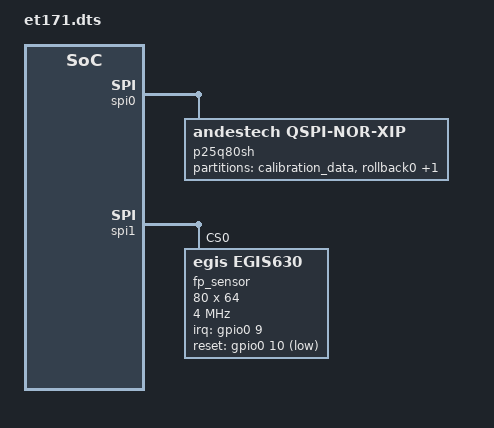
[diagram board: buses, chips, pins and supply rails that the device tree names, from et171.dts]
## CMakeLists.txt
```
# Copyright 2025 The ChromiumOS Authors
# Use of this source code is governed by a BSD-style license that can be
# found in the LICENSE file.
# SPDX-License-Identifier: Apache-2.0

zephyr_library_sources("src/platform.c")
zephyr_library_sources("src/flash_qspi.c")
zephyr_library_sources("src/ec_quirks.c")

if(DEFINED CONFIG_CROS_EC_RO)

set(flash_header_output_bin ${CMAKE_BINARY_DIR}/flash_header.bin)
zephyr_file_copy(flash_header.bin ${flash_header_output_bin})

endif()
```

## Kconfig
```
# Copyright 2025 The ChromiumOS Authors
# Use of this source code is governed by a BSD-style license that can be
# found in the LICENSE file.

if BOARD_ET171

config FP_SENSOR_ALLOW_EXTERNAL_CALI_DATA
	default y if FINGERPRINT_SENSOR_EGIS630

endif
```

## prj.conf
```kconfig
# Copyright 2025 The ChromiumOS Authors
# Use of this source code is governed by a BSD-style license that can be
# found in the LICENSE file.

CONFIG_BOARD_ET171=y

CONFIG_PLATFORM_EC_NOINIT_END_OF_RAM_SECTION=n
# Hardcode 1MB flash in hex for now
CONFIG_PLATFORM_EC_FLASH_SIZE_BYTES=100000
CONFIG_XIP=y

CONFIG_EXCEPTION_DEBUG=y
CONFIG_PLATFORM_EC_ROLLBACK_MPU_PROTECT=y

# Watchdog related configs
# Maximum watchdog period for atcwdt200 is 500ms. Many operations in the FP
# application takes hundreds of milliseconds or even more, e.g. RWSIG, flash
# operations, FP related calculations. Combining such two actions in series
# would lead to watchdog reset, thus we are forced to disable watchdog.
CONFIG_WDT_DISABLE_AT_BOOT=y
# The tick hook is used only for watchdog reload for FPMCU
CONFIG_PLATFORM_EC_HOOK_TICK=n

# Enable USB for HC
CONFIG_UDC_DRIVER=y
CONFIG_USB_DEVICE_STACK_NEXT=y
# 2kB looks sufficient, but add additional margin for future changes
CONFIG_UDC_BUF_POOL_SIZE=3072
CONFIG_USB_DEVICE_MAX_POWER=250

CONFIG_USB_DEVICE_MANUFACTURER="Google"
CONFIG_USB_DEVICE_PRODUCT="FPMCU"
CONFIG_USB_DEVICE_VID=0x18D1
CONFIG_USB_DEVICE_SELF_POWERED=n
CONFIG_USB_DEVICE_REMOTE_WAKEUP=y
CONFIG_USB_DEVICE_SN="0"
CONFIG_USB_DEVICE_SN_HWINFO=y

# Use USB for signaling MKBP events
CONFIG_PLATFORM_EC_MKBP_USE_GPIO=n
CONFIG_PLATFORM_EC_MKBP_USE_USB=y

# Sizes adjusted for 512 bytes payload for write and read flash host commands
CONFIG_EC_HOST_CMD_HANDLER_RX_BUFFER_SIZE=528
CONFIG_EC_HOST_CMD_HANDLER_TX_BUFFER_SIZE=520

CONFIG_FPU_SHARING=n
CONFIG_FLOAT_HARD=y

# SPI/Flash related configs
CONFIG_SPI_NOR=n
CONFIG_FLASH_ANDES_QSPI_XIP_COUNT_REGS=y
CONFIG_HEAP_MEM_POOL_SIZE=1024

# Use standar 0.1ms tick
CONFIG_SYS_CLOCK_TICKS_PER_SEC=10000

# No access to hardware WP pin, use custome method
CONFIG_PLATFORM_EC_WP_CUSTOM=y

# FPS related configs
CONFIG_FINGERPRINT_SENSOR_EGIS630_HEAP_SIZE=112640

# Enable the fp vendor command to get MT data
CONFIG_PLATFORM_EC_FINGERPRINT_VENDOR_COMMAND=y

# BBRAM not supported on ET171
CONFIG_BBRAM=n

# Make possibility to enter bootloader
CONFIG_PLATFORM_EC_HOST_COMMAND_ENTER_BOOTLOADER=y

# Disable kernel shell, becasue it requires addtional 5kB of flash
CONFIG_KERNEL_SHELL=n

# The flash shell requires page layout which is not supported
CONFIG_FLASH_SHELL=n

# Leave printk untill firmware is fully developed.
CONFIG_LOG_PRINTK=n

# RISCV PMP entry configurations
# b/406946889: Allow modifying PMP entries so that we can reconfigure them
# when jumping between RO and RW.
CONFIG_PMP_NO_LOCK_GLOBAL=y
CONFIG_NULL_POINTER_EXCEPTION_DETECTION_PMP=y
CONFIG_HW_STACK_PROTECTION=y

# Use EGIS ET171's secure OTP storage for keys.
CONFIG_EGIS_ET171_OTP_KEY=y

# Enable power button ignore
CONFIG_PLATFORM_EC_BTN_IGN_OUT=y
```

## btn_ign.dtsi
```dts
/* Copyright 2026 The ChromiumOS Authors
 * Use of this source code is governed by a BSD-style license that can be
 * found in the LICENSE file.
 */

/{
	btn_ign: btn-ign {
		compatible = "cros-ec,btn-ign";
		btn-ign-gpios = <&gpio0 1 GPIO_ACTIVE_HIGH>;
	};
};
```

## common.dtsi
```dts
/* Copyright 2025 The ChromiumOS Authors.
 * Use of this source code is governed by a BSD-style license that can be
 * found in the LICENSE file.
 */

#include <egis/common_priv.dtsi>
#include <zephyr/dt-bindings/memory-attr/memory-attr-riscv.h>

#include "soc.dtsi"
#include "gpio.dtsi"
#include "rwsig.dtsi"

#include <cros/integrated_fwid.dtsi>

/ {
	chosen {
		cros-fp,fingerprint-sensor = &fp_sensor;
		cros-ec,flash = &p25q16;
		zephyr,flash = &p25q16;
		zephyr,flash-controller = &p25q16;
		flash-header = &flash_header;
	};

	named-bbram-regions {
		compatible = "named-bbram-regions";

		scratchpad {
			offset = <0x00>;
			size = <0x02>;
		};
		saved-reset-flags {
			offset = <0x02>;
			size = <0x04>;
		};
		saved-panic-reason {
			offset = <0x06>;
			size = <0x02>;
		};
		saved-panic-info {
			offset = <0x08>;
			size = <0x02>;
		};
		saved-panic-exception {
			offset = <0x0a>;
			size = <0x02>;
		};
		saved-panic-flags {
			offset = <0x0c>;
			size = <0x02>;
		};
	};


	/* Map the sections to fit the flash chip protection table */
	binman {
		/* SDCP flash header 4kB */

		/* Fill 1/4 of 1MB */
		wp-ro {
			size = <0x40000>;
			flash-header {
				offset = <0x0>;
				size = <0x1000>;
				type = "blob";
				filename = "../build-ro/flash_header.bin";
			};
			ec-ro {
				offset = <0x1000>;
				size = <(0x40000 - 0x1000)>;
				pad-byte = <0xff>;
			};
		};

		/* Use the rest for RW + Rollbacks. Erase unit(4kB) per rollback */
		rollback0 {
			offset = <0x40000>;
			size = <0x1000>;
			type = "blob";
			filename = "../build-rw/rollback_initial_data.bin";
		};

		rollback1 {
			offset = <0x41000>;
			size = <0x1000>;
			type = "blob";
			filename = "../build-rw/rollback_initial_data.bin";
		};

		ec-rw {
			offset = <0x42000>;
			size = <0xbe000>;
			rw-fw {
				/*
				 * Clang doesn't emit STT_SECTION symbols (also
				 * called 'section symbols'), so 'rom_start'
				 * symbol is not available. Fortunately, Zephyr
				 * linker scripts provide '__rom_start_address'
				 * symbol which points to the beginning of
				 * 'rom_start' section.
				 */
				zephyr-rw {
					elf-base-sym = "__rom_start_address";
				};
			};
		};
		pad-byte = <0xff>;
	};
};

&spi0 {
	p25q16: qspi-nor-flash {
		compatible = "andestech,qspi-nor-xip", "jedec,spi-nor";
		size = <DT_SIZE_K(2048)>;
		status = "okay";
	};
};

&p25q16 {
	partitions {
		compatible = "fixed-partitions";
		#address-cells = <1>;
		#size-cells = <1>;

		mt_data: partition@1b9 {
			label = "mt_data";
			reg = <0x1b9 128>;
		};

		rollback0: partition@40000 {
			label = "rollback0";
			reg = <0x40000 DT_SIZE_K(4)>;
		};

		rollback1: partition@41000 {
			label = "rollback1";
			reg = <0x41000 DT_SIZE_K(4)>;
		};
	};
};

/ {
	rollback: rollback@80040000 {
		compatible = "zephyr,memory-region";
		reg = <0x80040000 DT_SIZE_K(8)>;
		zephyr,memory-region = "ROLLBACK_REGION";
		/*
		 * This region is only used in M-mode, not U-mode. It has no
		 * access permissions (no read, no write, and no execute) unless
		 * unlocked, at which point read and write access are enabled.
		 */
		zephyr,memory-attr = <(DT_MEM_RISCV_TYPE_EMPTY)>;
	};
};
```

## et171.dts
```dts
/* Copyright 2023 The ChromiumOS Authors.
 * Use of this source code is governed by a BSD-style license that can be
 * found in the LICENSE file.
 */

#include "soc.dtsi"
#include "gpio.dtsi"
#include "rwsig.dtsi"

#include <cros/integrated_fwid.dtsi>

/ {
	chosen {
		cros-fp,fingerprint-sensor = &fp_sensor;
		cros-ec,flash = &p25q80sh;
		zephyr,flash = &p25q80sh;
		zephyr,flash-controller = &p25q80sh;
		flash-header = &flash_header;
	};

	named-bbram-regions {
		compatible = "named-bbram-regions";

		scratchpad {
			offset = <0x00>;
			size = <0x02>;
		};
		saved-reset-flags {
			offset = <0x02>;
			size = <0x04>;
		};
		saved-panic-reason {
			offset = <0x06>;
			size = <0x02>;
		};
		saved-panic-info {
			offset = <0x08>;
			size = <0x02>;
		};
		saved-panic-exception {
			offset = <0x0a>;
			size = <0x02>;
		};
		saved-panic-flags {
			offset = <0x0c>;
			size = <0x02>;
		};
	};


	/* Map the sections to fit the flash chip protection table */ 
	binman {
		/* SDCP flash header - 1/256 of 1MB = 1kB */
		flash-header {
			offset = <0x0>;
			size = <0x1000>;
			type = "blob";
			filename = "../build-ro/flash_header.bin";
		};

		/* Fill 1/4 of 1MB */
		wp-ro {
			offset = <0x1000>;
			size = <(0x40000 - 0x1000)>;
			ec-ro {
				offset = <0x0>;
				size = <(0x40000 - 0x1000)>;
				pad-byte = <0xff>;
			};
		};

		/* Use 1/4 - 1/2 of flash for rollback */
		/* Two sectors used for rollback (4KB each) */
		rollback0 {
			offset = <0x40000>;
			size = <0x1000>;
			type = "blob";
			filename = "../build-rw/rollback_initial_data.bin";
		};

		rollback1 {
			offset = <0x41000>;
			size = <0x1000>;
			type = "blob";
			filename = "../build-rw/rollback_initial_data.bin";
		};

		// TODO consider moving RW next to rollback since rollback doesn't need separate protection?
		ec-rw {
			offset = <0x80000>;
			size = <0x80000>;
			rw-fw {
				/*
				 * Clang doesn't emit STT_SECTION symbols (also
				 * called 'section symbols'), so 'rom_start'
				 * symbol is not available. Fortunately, Zephyr
				 * linker scripts provide '__rom_start_address'
				 * symbol which points to the beginning of
				 * 'rom_start' section.
				 */
				zephyr-rw {
					elf-base-sym = "__rom_start_address";
				};
			};
		};
		pad-byte = <0xff>;
	};
};

&spi0 {
	p25q80sh: qspi-nor-flash {
		compatible = "andestech,qspi-nor-xip", "jedec,spi-nor";
		size = <DT_SIZE_K(1024)>;
		status = "okay";
	};
};

&p25q80sh {
	partitions {
		compatible = "fixed-partitions";
		#address-cells = <1>;
		#size-cells = <1>;

		calibration_data: partition@1b9 {
			label = "calibration_data";
			reg = <0x1b9 256>;
		};

		rollback0: partition@40000 {
			label = "rollback0";
			reg = <0x40000 DT_SIZE_K(4)>;
		};

		/* Seventh sector is used as second rollback sector. */
		rollback1: partition@41000 {
			label = "rollback1";
			reg = <0x41000 DT_SIZE_K(4)>;
		};
	};
};

&spi1 {
	fp_sensor: egis630@0 {
		compatible = "egis,egis630";
		reg = <0>;
		spi-max-frequency = <4000000>;

		width = <80>;
		height = <64>;
		bits-per-pixel = <8>;
		v4l2-pixel-format = "V4L2_PIX_FMT_GREY";

		irq-gpios = <&gpio0 9 GPIO_ACTIVE_HIGH>;
		reset-gpios = <&gpio0 10 GPIO_ACTIVE_LOW>;
		calibration-data-addr = <0x800001b9>;
	};
};
```

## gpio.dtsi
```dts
/* Copyright 2023 The ChromiumOS Authors.
 * Use of this source code is governed by a BSD-style license that can be
 * found in the LICENSE file.
 */

#include <dt-bindings/gpio_defines.h>

/ {
	aliases {
		gpio-wp = &ec_wp_l;
	};

	named-gpios {
		compatible = "named-gpios";

		ap_ec_int_l {
			gpios = <&gpio0 16 GPIO_OUTPUT_HIGH>;
			enum-name = "GPIO_EC_INT_L";
		};
		ec_wp_l: write-protect {
			gpios = <&gpio0 0 GPIO_INPUT>;
		};

		entering-rw {
			enum-name = "GPIO_ENTERING_RW";
		};
	};
};
```

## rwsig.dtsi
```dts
/* Copyright 2023 The ChromiumOS Authors.
 * Use of this source code is governed by a BSD-style license that can be
 * found in the LICENSE file.
 */

&binman {
	wp-ro {
		ec-ro {
			/* Last part before signature for bootloader */
			key-ro {
				compatible = "cros-ec,flash-layout";
				type = "section";
				offset = <(0x40000 - 0x1000 - 64 - 0x400)>;
				size = <0x400>;
			};
			/* Signature for bootloader ECDSA-SHA256. TODO: inside ec-ro? */ 
			sig-ro {
				type = "section";
				offset = <(0x40000 - 0x1000 - 64)>;
				size = <64>;
			};
		};
	};

	ec-rw {
		rw-fw {
			rw-rbver {
				size = <4>;
				type = "section";
				/* points to
				 * current_image_data.rollback_version
				 */
				offset-from-elf = <&zephyr_rw>,
					"current_image_data", <40>;
				overlap;
			};

			sig-rw {
				type = "section";
				offset = <(0x80000 - 0x400)>;
				size = <0x400>;
			};
			pad-byte = <0xff>;
		};
	};
};
```

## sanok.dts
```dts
/* Copyright 2025 The ChromiumOS Authors.
 * Use of this source code is governed by a BSD-style license that can be
 * found in the LICENSE file.
 */

#include "common.dtsi"

#define EGIG630_DEFAULT_IMAGE_PROPS \
	width = <80>; \
	height = <64>; \
	bits-per-pixel = <8>; \
	frame-size = <5120>; \
	v4l2-pixel-format = "V4L2_PIX_FMT_GREY";

#define EGIG630_TEST_IMAGE_PROPS \
	width = <80>; \
	height = <64>; \
	bits-per-pixel = <16>; \
	frame-size = <10240>; \
	v4l2-pixel-format = "V4L2_PIX_FMT_GREY";

#define EGIG630_IMAGE_COLLECTION_PROPS \
	width = <80>; \
	height = <64>; \
	bits-per-pixel = <8>; \
	frame-size = <26200>; \
	v4l2-pixel-format = "V4L2_PIX_FMT_GREY";

&spi1 {
	fp_sensor: egis630@0 {
		compatible = "egis,egis630";
		reg = <0>;
		spi-max-frequency = <4000000>;

		configs {
			compatible = "fingerprint-image-frame-params";
			config0 {
				EGIG630_DEFAULT_IMAGE_PROPS
				capture-type = "FINGERPRINT_CAPTURE_TYPE_SIMPLE_IMAGE";
			};
			config1 {
				EGIG630_TEST_IMAGE_PROPS
				capture-type = "FINGERPRINT_CAPTURE_TYPE_PATTERN0";
			};
			config2 {
				EGIG630_TEST_IMAGE_PROPS
				capture-type = "FINGERPRINT_CAPTURE_TYPE_PATTERN1";
			};
			config3 {
				EGIG630_TEST_IMAGE_PROPS
				capture-type = "FINGERPRINT_CAPTURE_TYPE_DEFECT_PXL_TEST";
			};
			config4 {
				EGIG630_TEST_IMAGE_PROPS
				capture-type = "FINGERPRINT_CAPTURE_TYPE_ABNORMAL_TEST";
			};
			config5 {
				EGIG630_TEST_IMAGE_PROPS
				capture-type = "FINGERPRINT_CAPTURE_TYPE_NOISE_TEST";
			};
			config6 {
				EGIG630_TEST_IMAGE_PROPS
				capture-type = "FINGERPRINT_CAPTURE_TYPE_QUALITY_TEST";
			};
			config7 {
				EGIG630_IMAGE_COLLECTION_PROPS
				capture-type = "FINGERPRINT_CAPTURE_TYPE_VENDOR_FORMAT";
			};
		};

		irq-gpios = <&gpio0 9 GPIO_ACTIVE_HIGH>;
		reset-gpios = <&gpio0 10 GPIO_ACTIVE_LOW>;
		calibration-data = <&mt_data>;
	};
};
```

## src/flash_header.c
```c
/* Copyright 2025 The ChromiumOS Authors
 * Use of this source code is governed by a BSD-style license that can be
 * found in the LICENSE file.
 */

#include <stddef.h>
#include <stdint.h>

#include <zephyr/toolchain.h>

struct egis_sdcp_flash_header {
	uint8_t tag[8];
	uint32_t bootloader_ver;
	uint32_t bootloader_addr;
	uint32_t bootloader_size;
	uint32_t fw_ver;
	uint32_t fw_addr;
	uint32_t fw_size;
	uint32_t bootrom_ver;
	uint32_t bootrom_addr;
	uint32_t bootrom_size;
	uint32_t cert_m_addr;
	uint32_t cert_m_size;
	uint8_t otp_per_dev_skey_index;
	uint8_t pk_d[65];
	uint8_t s_m[64];
	uint8_t otp_egis_skey_index;
	uint8_t pk_d_egis[65];
	uint8_t sig_pk_d_egis[64];
	uint8_t pk_m[65];
	uint8_t s_goog[64];
	uint32_t mt_data_size;
	uint8_t mt_data[128];
} __packed;

struct egis_sdcp_flash_header flash_header = {
	.tag = { 0x45, 0x54, 0x55, 0x39, 0x30, 0x35, 0x0, 0x0 }, /* "ETU905" */
	.bootloader_ver = 0xffffffff,
	.bootloader_addr = 0xffffffff,
	.bootloader_size = 0xffffffff,
	.fw_ver = 0xaaaaaaaa,
	.fw_addr = CONFIG_CROS_EC_RO_MEM_OFF + CONFIG_FLASH_BASE_ADDRESS,
	.fw_size = CONFIG_CROS_EC_RO_SIZE - 64, /* WP region - ECDSA signature
						   at the end */
	.bootrom_ver = 0xffffffff,
	.bootrom_addr = 0xffffffff,
	.bootrom_size = 0xffffffff,
	.cert_m_addr = CONFIG_FLASH_BASE_ADDRESS +
		       offsetof(struct egis_sdcp_flash_header, pk_m),
	.cert_m_size = 64 + 65, /* Size of the pk_m + s_goog */
	.otp_per_dev_skey_index = 0,
	.pk_d = { 0 },
	.s_m = { 0 },
	.otp_egis_skey_index = 0,
	.pk_d_egis = { 0 },
	.sig_pk_d_egis = { 0 },
	.pk_m = { 0x04, 0xdb, 0x68, 0x13, 0x51, 0xcf, 0xec, 0x9a, 0x92, 0xce,
		  0x00, 0xba, 0x17, 0xc6, 0xbe, 0xd2, 0xd8, 0x5b, 0x1d, 0xb8,
		  0xd6, 0xbf, 0x07, 0x82, 0xad, 0xe7, 0xc6, 0xbe, 0x69, 0xe2,
		  0x1d, 0x1a, 0x45, 0x7b, 0x40, 0x8c, 0xac, 0xc7, 0x4d, 0x89,
		  0x79, 0x98, 0x68, 0x74, 0x10, 0xcd, 0x45, 0xe4, 0xfb, 0xff,
		  0x62, 0x73, 0x0e, 0xbc, 0xc8, 0x7d, 0xac, 0x81, 0xf6, 0xb2,
		  0xba, 0x12, 0x6c, 0x1e, 0x8a }, /* Egis pk_m */
	.s_goog = { 0x34, 0x51, 0x71, 0x9a, 0xab, 0x29, 0x1a, 0x3f, 0x37, 0x14,
		    0x03, 0xb2, 0xc3, 0x19, 0xcc, 0x40, 0xba, 0x18, 0x4e, 0xee,
		    0xcf, 0x8d, 0xbc, 0x9d, 0x23, 0x40, 0x20, 0xbe, 0x15, 0x24,
		    0xfd, 0xbd, 0xc1, 0xfb, 0xed, 0x69, 0x6d, 0xf5, 0xe9, 0xb5,
		    0xc6, 0x34, 0x6b, 0xa0, 0x27, 0x3c, 0x75, 0x65, 0xd9, 0xe1,
		    0x3d, 0x8a, 0xa4, 0xf7, 0xa0, 0x45, 0x57, 0x76, 0x47, 0x10,
		    0x67, 0xe0, 0xff, 0xa6 },
};
```

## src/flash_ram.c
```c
/* Copyright 2024 The ChromiumOS Authors
 * Use of this source code is governed by a BSD-style license that can be
 * found in the LICENSE file.
 */

#include <string.h>

#include <zephyr/device.h>
#include <zephyr/devicetree.h>

#include <zephyr/init.h>
#include <zephyr/drivers/flash.h>
#include <zephyr/drivers/flash/andes_flash_xip_api_ex.h>
#include <zephyr/kernel.h>
#include <zephyr/device.h>
#include <zephyr/sys/util.h>

#include <zephyr/logging/log.h>

#include <stdarg.h>
#include "console.h"
#include "printf.h"
#include "uart.h"
#include <zephyr/linker/linker-defs.h>
#include <zephyr/sys/barrier.h>
#include <zephyr/drivers/cache.h>
#include <zephyr/drivers/flash.h>

#include "util.h"

#include <stdarg.h>

#define flash_ctrl_dev DEVICE_DT_GET(DT_CHOSEN(zephyr_flash_controller))

static int command_write3(int argc, const char **argv)
{
	uint32_t off = 0;
#ifdef CONFIG_CROS_EC_RW
	uint32_t start = 0x20000;
	const int size = 0x60000;
#else
	uint32_t start = 0x80000;
	const int size = 0x80000;
#endif
	const int chank = 300;
	uint8_t data[chank];
	for (int i = 0; i < chank; i++) {
		data[i] = i+1;
	}

	for (int j = 0; j < 500; j++) {
		printk("DN write %d\n", j);
		flash_erase(flash_ctrl_dev, start, size);
		for (off = 0; off < size; off += chank) {
			flash_write(flash_ctrl_dev, start + off, data, chank);
		}
	}

	// printk("DN cmd write end\n");

	return 0;
};
DECLARE_SAFE_CONSOLE_COMMAND(write3, command_write3,
			     "[ save | restore | <mask> | <name> ]",
			     "Save, restore, get or set console channel mask");

static int command_srs(int argc, const char **argv)
{
	char *e;

	if (argc == 3) {
		uint32_t srs = strtoi(argv[1], &e, 0);

		if (*e) {
			return EC_ERROR_PARAM1;
		}

		uint32_t mask = strtoi(argv[2], &e, 0);
		if (*e) {
			return EC_ERROR_PARAM2;
		}
		
		struct andes_xip_ex_ops_set_in op_in;

		op_in.regs[0] = (uint8_t)(srs     & 0xff);
		op_in.regs[1] = (uint8_t)(srs>>8  & 0xff);
		op_in.regs[2] = (uint8_t)(srs>>16 & 0xff);
		op_in.masks[0] = (uint8_t)(mask     & 0xff);
		op_in.masks[1] = (uint8_t)(mask>>8  & 0xff);
		op_in.masks[2] = (uint8_t)(mask>>16 & 0xff);

		return flash_ex_op(flash_ctrl_dev, FLASH_ANDES_XIP_EX_OP_SET_STATUS_REGS, (uintptr_t)&op_in, 0);
	} else if (argc == 1) {
		int ret;
		struct andes_xip_ex_ops_get_out op_out;

		ret = flash_ex_op(flash_ctrl_dev, FLASH_ANDES_XIP_EX_OP_GET_STATUS_REGS, (uintptr_t)NULL, &op_out);

		if (ret) {
			printk("DN error: %d\n", ret);
		} else {
			printk("DN sr1: 0x%02x\n", op_out.regs[0]);
			printk("DN sr2: 0x%02x\n", op_out.regs[1]);
			printk("DN sr3: 0x%02x\n", op_out.regs[2]);
		}
	} else {
		return -1;
	}

	return EC_SUCCESS;
};
DECLARE_CONSOLE_COMMAND(srs, command_srs, "", "");

static int command_srs_unlock(int argc, const char **argv)
{
	struct andes_xip_ex_ops_lock_in op_in = {
		.enable = false,
	};

	return flash_ex_op(flash_ctrl_dev, FLASH_ANDES_XIP_EX_OP_LOCK, (uintptr_t)&op_in, 0);
};
DECLARE_CONSOLE_COMMAND(srs_unlock, command_srs_unlock, "", "");

void trng_rand_bytes(void *buffer, size_t len);

static int command_rand(int argc, const char **argv)
{
	char *e;
	uint32_t num;

	if (argc == 2) {
		num = strtoi(argv[1], &e, 0);

		if (*e) {
			return EC_ERROR_PARAM1;
		}
	} else {
		return -1;
	}
	uint8_t rand[num];
	trng_rand_bytes(rand, 16);

	for (int i = 0; i < num; i++) {
		printk("%d\n", rand[i]);
	}

	return 0;
};
DECLARE_CONSOLE_COMMAND(rand, command_rand, "", "");
```

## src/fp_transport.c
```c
/* Copyright 2024 The ChromiumOS Authors
 * Use of this source code is governed by a BSD-style license that can be
 * found in the LICENSE file.
 */

#include <string.h>

#include <zephyr/device.h>
#include <zephyr/devicetree.h>

#include <zephyr/mgmt/ec_host_cmd/backend.h>
#include <zephyr/mgmt/ec_host_cmd/ec_host_cmd.h>

#include <zephyr/init.h>
#include <zephyr/kernel.h>
#include <zephyr/device.h>
#include <zephyr/sys/util.h>

#include <zephyr/logging/log.h>

#include <stdarg.h>
#include "console.h"
#include "host_command.h"
#include "hwtimer.h"
#include "printf.h"
#include "uart.h"
#include "usb_console.h"
#include "util.h"
#include <zephyr/linker/linker-defs.h>

void usb_set_mkbp(int active)
{
	// printk("USB MKBP active: %d\n", active);
	if (active) {
		ec_host_cmd_backend_usb_trigger_event();
	}
}

int mkbp_set_host_active_via_custom(int active, uint32_t *timestamp)
{
	usb_set_mkbp(active);
	if (timestamp) {
		*timestamp = __hw_clock_source_read();
	}

	return EC_SUCCESS;
}

static __ramfunc int command_usb(int argc, const char **argv)
{
	host_set_single_event(EC_HOST_EVENT_INTERFACE_READY);

	return EC_SUCCESS;
};
DECLARE_SAFE_CONSOLE_COMMAND(usb, command_usb,
			     "[ save | restore | <mask> | <name> ]",
			     "Save, restore, get or set console channel mask");
```

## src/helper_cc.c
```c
/* Copyright 2024 The ChromiumOS Authors
 * Use of this source code is governed by a BSD-style license that can be
 * found in the LICENSE file.
 */

#include <string.h>

#include <zephyr/device.h>
#include <zephyr/devicetree.h>

#include <zephyr/init.h>
#include <zephyr/drivers/flash.h>
#include <zephyr/drivers/flash/andes_flash_xip_api_ex.h>
#include <zephyr/kernel.h>
#include <zephyr/device.h>
#include <zephyr/sys/util.h>

#include <zephyr/logging/log.h>

#include <stdarg.h>
#include "console.h"
#include "printf.h"
#include "system.h"
#include "uart.h"
#include <zephyr/linker/linker-defs.h>
#include <zephyr/sys/barrier.h>
#include <zephyr/drivers/cache.h>
#include <zephyr/drivers/flash.h>

#include "util.h"

#include <stdarg.h>

#define flash_ctrl_dev DEVICE_DT_GET(DT_CHOSEN(zephyr_flash_controller))

static int command_write3(int argc, const char **argv)
{
	uint32_t off = 0;
#ifdef CONFIG_CROS_EC_RW
	uint32_t start = 0x20000;
	const int size = 0x60000;
#else
	uint32_t start = 0x80000;
	const int size = 0x80000;
#endif
	const int chank = 300;
	uint8_t data[chank];
	for (int i = 0; i < chank; i++) {
		data[i] = i+1;
	}

	for (int j = 0; j < 500; j++) {
		printk("DN write %d\n", j);
		flash_erase(flash_ctrl_dev, start, size);
		for (off = 0; off < size; off += chank) {
			flash_write(flash_ctrl_dev, start + off, data, chank);
		}
	}

	// printk("DN cmd write end\n");

	return 0;
};
DECLARE_SAFE_CONSOLE_COMMAND(write3, command_write3,
			     "[ save | restore | <mask> | <name> ]",
			     "Save, restore, get or set console channel mask");

static int command_srs(int argc, const char **argv)
{
	char *e;

	if (argc == 3) {
		uint32_t srs = strtoi(argv[1], &e, 0);

		if (*e) {
			return EC_ERROR_PARAM1;
		}

		uint32_t mask = strtoi(argv[2], &e, 0);
		if (*e) {
			return EC_ERROR_PARAM2;
		}
		
		struct andes_xip_ex_ops_set_in op_in;

		op_in.regs[0] = (uint8_t)(srs     & 0xff);
		op_in.regs[1] = (uint8_t)(srs>>8  & 0xff);
		op_in.regs[2] = (uint8_t)(srs>>16 & 0xff);
		op_in.masks[0] = (uint8_t)(mask     & 0xff);
		op_in.masks[1] = (uint8_t)(mask>>8  & 0xff);
		op_in.masks[2] = (uint8_t)(mask>>16 & 0xff);

		return flash_ex_op(flash_ctrl_dev, FLASH_ANDES_XIP_EX_OP_SET_STATUS_REGS, (uintptr_t)&op_in, 0);
	} else if (argc == 1) {
		int ret;
		struct andes_xip_ex_ops_get_out op_out;

		ret = flash_ex_op(flash_ctrl_dev, FLASH_ANDES_XIP_EX_OP_GET_STATUS_REGS, (uintptr_t)NULL, &op_out);

		if (ret) {
			printk("DN error: %d\n", ret);
		} else {
			printk("DN sr1: 0x%02x\n", op_out.regs[0]);
			printk("DN sr2: 0x%02x\n", op_out.regs[1]);
			printk("DN sr3: 0x%02x\n", op_out.regs[2]);
		}
	} else {
		return -1;
	}

	return EC_SUCCESS;
};
DECLARE_CONSOLE_COMMAND(srs, command_srs, "", "");

static int command_srs_unlock(int argc, const char **argv)
{
	struct andes_xip_ex_ops_lock_in op_in = {
		.enable = false,
	};

	return flash_ex_op(flash_ctrl_dev, FLASH_ANDES_XIP_EX_OP_LOCK, (uintptr_t)&op_in, 0);
};
DECLARE_CONSOLE_COMMAND(srs_unlock, command_srs_unlock, "", "");

void trng_rand_bytes(void *buffer, size_t len);

static int command_rand(int argc, const char **argv)
{
	char *e;
	uint32_t num;

	if (argc == 2) {
		num = strtoi(argv[1], &e, 0);

		if (*e) {
			return EC_ERROR_PARAM1;
		}
	} else {
		return -1;
	}
	uint8_t rand[num];
	trng_rand_bytes(rand, 16);

	for (int i = 0; i < num; i++) {
		printk("%d\n", rand[i]);
	}

	return 0;
};
DECLARE_CONSOLE_COMMAND(rand, command_rand, "", "");

#define flash_ctrl_dev DEVICE_DT_GET(DT_CHOSEN(zephyr_flash_controller))

static int command_bootrom(int argc, const char **argv)
{
	chip_enter_bootloader(0);

	return 0;
};
DECLARE_CONSOLE_COMMAND(bootrom, command_bootrom, "", "");
```

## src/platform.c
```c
/* Copyright 2025 The ChromiumOS Authors
 * Use of this source code is governed by a BSD-style license that can be
 * found in the LICENSE file.
 */

#include "fpsensor/fpsensor.h"
#include "write_protect.h"

#define MT_DATA_OFF DT_REG_ADDR(DT_NODELABEL(mt_data))
struct mt_data {
	uint32_t size;
	uint8_t data[];
};

int fp_vendor_command(uint32_t param, uint8_t *buf, size_t buf_size)
{
	const struct mt_data *mt_data =
		(struct mt_data *)(CONFIG_FLASH_BASE_ADDRESS + MT_DATA_OFF);
	if (mt_data->size > buf_size) {
		return -EC_RES_RESPONSE_TOO_BIG;
	}
	memcpy(buf, (uint8_t *)mt_data->data, mt_data->size);

	return mt_data->size;
}

/* TODO(b/432682921): Change based on the final solution of WP state. */
int write_protect_is_asserted_custom(void)
{
	return 0;
}

int get_sdcp_claim(struct ec_response_fp_sdcp_claim *res)
{
	memcpy(res->pk_m, (uint8_t *)0x80000138, sizeof(res->pk_m));
	memcpy(res->s_goog, (uint8_t *)0x80000179, sizeof(res->s_goog));
	memcpy(res->pk_d, (uint8_t *)0x80000035, sizeof(res->pk_d));
	memcpy(res->s_m, (uint8_t *)0x80000076, sizeof(res->s_m));
	// 0x90000000 is mirroring 0x00000000 in order to avoid NULL dereference
	memcpy(res->pk_f, (uint8_t *)0x90000060, sizeof(res->pk_f));
	memcpy(res->h_f, (uint8_t *)0x90000000, sizeof(res->h_f));
	memcpy(res->s_d, (uint8_t *)0x90000020, sizeof(res->s_d));

	return EC_SUCCESS;
}

int get_sdcp_sk_f(uint8_t *buf, size_t buf_size)
{
	memcpy(buf, (uint8_t *)0x900000A0, buf_size);

	return EC_SUCCESS;
}
```

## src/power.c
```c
/* Copyright 2023 The ChromiumOS Authors
 * Use of this source code is governed by a BSD-style license that can be
 * found in the LICENSE file.
 */

#include <zephyr/kernel.h>
#include <zephyr/sys/printk.h>
#include <stdint.h>
#include <system.h>

// static uint64_t get_time;
// extern int cb_calls;
// extern char tmp_buf[1024];
// extern int tmp_len;
// extern int tx_cb_calls;
// extern int tx_end_calls;
// extern uint32_t ier;
// extern uint32_t fcr;
// extern uint32_t lcr;
// extern uint32_t mcr;
#include <zephyr/drivers/syscon.h>

// static const struct device *const syscon_dev =
// 			DEVICE_DT_GET(DT_NODELABEL(syscon));

// static void dn_thread_entry(void *arg1, void *arg2, void *arg3)
// {
// 	uint64_t get_time_diff;
// 	uint64_t get_time_now;
// 	uint64_t get_time_old = 0;
// 	// uint32_t ptr;
// 	while(1) {
// 		// int cb_calls_tmp = cb_calls;
// 		get_time_now = k_uptime_get();
// 		get_time_diff = k_uptime_get() - get_time_old;
// 		get_time_old = get_time_now;
// 		// printk("DN diff: %llu, cb calls: %d\n", get_time_diff, cb_calls_tmp);
// 		printk("DN diff: %llu\n", get_time_diff);
//                 uint32_t reg;
// 		syscon_read_reg(syscon_dev, 0x20, &reg);
// 		printk("DN retention ram: %08x\n", reg & 0x0fff0000);

// 		// ptr = 0x0;
// 		// printk("DN h_f:\n");
// 		// for (int i = 0; i < 32; i++) {
// 		// 	printk("%02x", *((volatile uint8_t*)(ptr + i)));
// 		// }
// 		// printk("\n");

// 		// ptr = 0x20;
// 		// printk("DN s_d:\n");
// 		// for (int i = 0; i < 64; i++) {
// 		// 	printk("%02x", *((volatile uint8_t*)(ptr + i)));
// 		// }
// 		// printk("\n");

// 		// ptr = 0x60;
// 		// printk("DN pk_f:\n");
// 		// for (int i = 0; i < 65; i++) {
// 		// 	printk("%02x", *((volatile uint8_t*)(ptr + i)));
// 		// }
// 		// printk("\n");

// 		// ptr = 0xa0;
// 		// printk("DN sk_f:\n");
// 		// for (int i = 0; i < 32; i++) {
// 		// 	printk("%02x", *((volatile uint8_t*)(ptr + i)));
// 		// }
// 		// printk("\n");

// 		// printk("DN buff len: %d\n", tmp_len);
// 		// for (int i = 0; i < tmp_len; i++) {
// 		// 	printk("%c", ((char*)tmp_buf)[i]);
// 		// }
// 		// printk("\n");
// 		// printk("DN tx_cb_calls: %d\n", tx_cb_calls);
// 		// printk("DN tx_end_calls: %d\n", tx_end_calls);
// 		// printk("DN ier: 0x%08x\n", ier);
// 		// printk("DN fcr: 0x%08x\n", fcr);
// 		// printk("DN lcr: 0x%08x\n", lcr);
// 		// printk("DN mcr: 0x%08x\n", mcr);
// 		// ier = 0;
// 		// fcr = 0;
// 		// lcr = 0;
// 		// mcr = 0;
// 		// tx_cb_calls = 0;
// 		// tx_end_calls = 0;
// 		// cb_calls = 0;
// 		k_msleep(3000);
// 		// printk("DN mtime diff: %llu\n", mtime_diff);

// 		// printk("DN 0xf0100008 0x%08x\n", *((volatile uint32_t*)0xf0100008));
// 		// printk("DN 0xf0100010 0x%08x\n", *((volatile uint32_t*)0xf0100010));
// 		// printk("DN 0xf0100014 0x%08x\n", *((volatile uint32_t*)0xf0100014));
// 		// printk("DN 0xf010001C 0x%08x\n", *((volatile uint32_t*)0xf010001C));
// 	}
// }

// K_THREAD_DEFINE(dn_thread, 1024, dn_thread_entry, NULL, NULL, NULL, 80, 0, 0);

// TODO replace with entropy driver - set zephyr,entropy chosen node
void trng_rand_bytes(void *buffer, size_t len)
{
	for (int i = 0; i < len; i++) {
		((uint8_t*)buffer)[i] = (uint8_t)sys_clock_cycle_get_32();
	}
}
```
